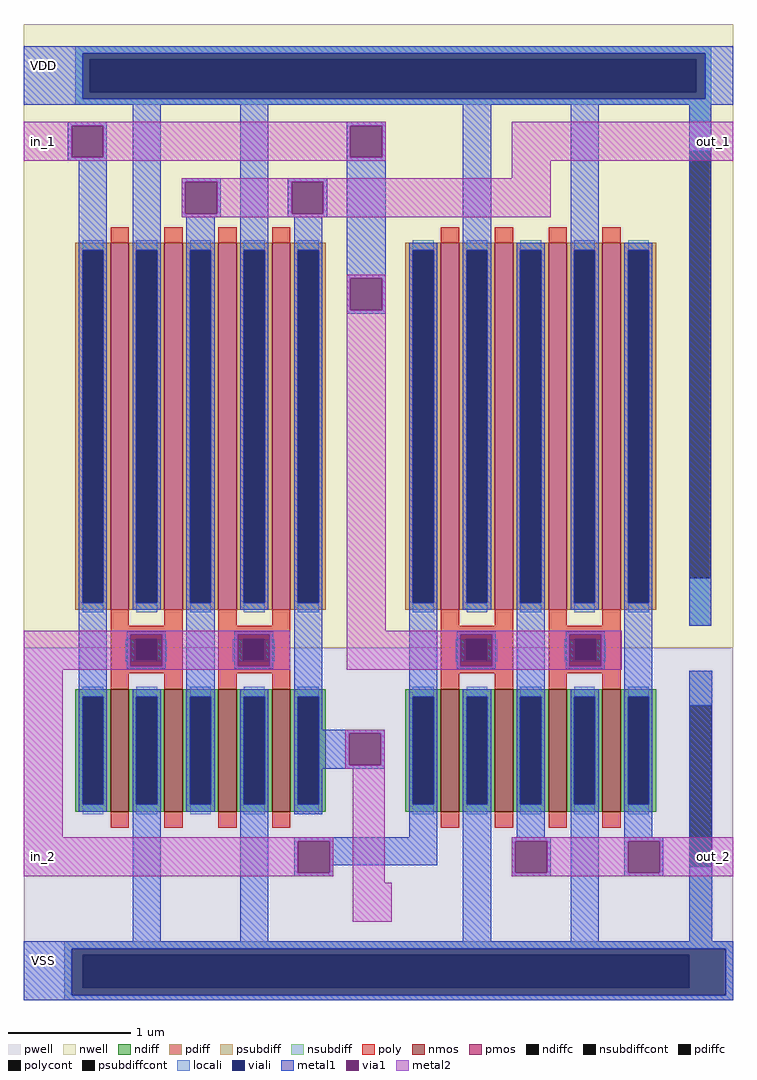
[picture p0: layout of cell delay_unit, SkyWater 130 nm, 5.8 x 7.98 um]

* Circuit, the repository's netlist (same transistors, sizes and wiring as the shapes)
* NGSPICE file created from delay_unit.ext - technology: sky130A

.subckt sky130_fd_pr__nfet_01v8_6H9P4D a_n73_n100# a_15_n100# a_n15_n126# VSUBS
X0 a_15_n100# a_n15_n126# a_n73_n100# VSUBS sky130_fd_pr__nfet_01v8 ad=0.29 pd=2.58 as=0.29 ps=2.58 w=1 l=0.15
**devattr s=11600,516 d=11600,516
.ends

.subckt sky130_fd_pr__pfet_01v8_2K9SAN a_n73_n300# w_n109_n362# a_15_n300# a_n15_n326#
X0 a_15_n300# a_n15_n326# a_n73_n300# w_n109_n362# sky130_fd_pr__pfet_01v8 ad=0.87 pd=6.58 as=0.87 ps=6.58 w=3 l=0.15
**devattr s=34800,1316 d=34800,1316
.ends

.subckt delay_unit out_1 in_1 out_2 in_2 VDD VSS
Xsky130_fd_pr__nfet_01v8_6H9P4D_0 VSS out_1 in_2 VSS sky130_fd_pr__nfet_01v8_6H9P4D
Xsky130_fd_pr__nfet_01v8_6H9P4D_1 out_1 VSS in_2 VSS sky130_fd_pr__nfet_01v8_6H9P4D
Xsky130_fd_pr__pfet_01v8_2K9SAN_0 VDD VDD out_1 in_2 sky130_fd_pr__pfet_01v8_2K9SAN
Xsky130_fd_pr__nfet_01v8_6H9P4D_2 VSS out_1 in_2 VSS sky130_fd_pr__nfet_01v8_6H9P4D
Xsky130_fd_pr__pfet_01v8_2K9SAN_1 out_1 VDD VDD in_2 sky130_fd_pr__pfet_01v8_2K9SAN
Xsky130_fd_pr__nfet_01v8_6H9P4D_3 in_1 VSS in_2 VSS sky130_fd_pr__nfet_01v8_6H9P4D
Xsky130_fd_pr__pfet_01v8_2K9SAN_2 VDD VDD out_1 in_2 sky130_fd_pr__pfet_01v8_2K9SAN
Xsky130_fd_pr__nfet_01v8_6H9P4D_4 in_2 VSS in_1 VSS sky130_fd_pr__nfet_01v8_6H9P4D
Xsky130_fd_pr__pfet_01v8_2K9SAN_3 in_1 VDD VDD in_2 sky130_fd_pr__pfet_01v8_2K9SAN
Xsky130_fd_pr__nfet_01v8_6H9P4D_5 VSS out_2 in_1 VSS sky130_fd_pr__nfet_01v8_6H9P4D
Xsky130_fd_pr__nfet_01v8_6H9P4D_6 out_2 VSS in_1 VSS sky130_fd_pr__nfet_01v8_6H9P4D
Xsky130_fd_pr__pfet_01v8_2K9SAN_4 VDD VDD out_2 in_1 sky130_fd_pr__pfet_01v8_2K9SAN
Xsky130_fd_pr__nfet_01v8_6H9P4D_7 VSS out_2 in_1 VSS sky130_fd_pr__nfet_01v8_6H9P4D
Xsky130_fd_pr__pfet_01v8_2K9SAN_5 in_2 VDD VDD in_1 sky130_fd_pr__pfet_01v8_2K9SAN
Xsky130_fd_pr__pfet_01v8_2K9SAN_6 VDD VDD out_2 in_1 sky130_fd_pr__pfet_01v8_2K9SAN
Xsky130_fd_pr__pfet_01v8_2K9SAN_7 out_2 VDD VDD in_1 sky130_fd_pr__pfet_01v8_2K9SAN
.ends

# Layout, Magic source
magic
tech sky130A
magscale 1 2
<< nwell >>
rect -340 1084 820 1380
rect -340 360 -292 1084
rect 190 970 248 1084
rect 458 1064 522 1084
rect -198 360 -80 396
rect -22 360 96 396
rect 188 388 252 970
rect 190 360 248 388
rect 368 360 442 396
rect 702 360 820 1084
<< pwell >>
rect -340 -216 820 360
<< psubdiff >>
rect 748 266 786 322
rect 748 -120 786 2
rect -274 -142 820 -120
rect -274 -196 -244 -142
rect 748 -196 820 -142
rect -274 -216 820 -196
<< nsubdiff >>
rect -256 1322 784 1344
rect -256 1268 -232 1322
rect 760 1268 784 1322
rect -256 1248 784 1268
rect 748 1172 784 1248
rect 748 396 784 474
<< psubdiffcont >>
rect 748 2 786 266
rect -244 -196 748 -142
<< nsubdiffcont >>
rect -232 1268 760 1322
rect 748 474 784 1172
<< poly >>
rect -198 374 -80 396
rect -198 338 -158 374
rect -122 338 -80 374
rect -198 318 -80 338
rect -22 374 96 396
rect -22 338 18 374
rect 54 338 96 374
rect -22 318 96 338
rect 342 374 460 396
rect 342 338 382 374
rect 418 338 460 374
rect 342 318 460 338
rect 518 374 636 396
rect 518 338 560 374
rect 596 338 636 374
rect 518 318 636 338
<< polycont >>
rect -158 338 -122 374
rect 18 338 54 374
rect 382 338 418 374
rect 560 338 596 374
<< locali >>
rect -256 1332 784 1344
rect -256 1258 -244 1332
rect 774 1258 784 1332
rect -256 1248 784 1258
rect 748 1172 784 1248
rect 748 396 784 474
rect -174 338 -158 374
rect -122 338 -106 374
rect 2 338 18 374
rect 54 338 70 374
rect 366 338 382 374
rect 418 338 434 374
rect 544 338 560 374
rect 596 338 612 374
rect 748 266 786 322
rect 748 -120 786 2
rect -274 -132 820 -120
rect -274 -208 -262 -132
rect 808 -208 820 -132
rect -274 -216 820 -208
<< viali >>
rect -244 1322 774 1332
rect -244 1268 -232 1322
rect -232 1268 760 1322
rect 760 1268 774 1322
rect -244 1258 774 1268
rect -158 338 -122 374
rect 18 338 54 374
rect 382 338 418 374
rect 560 338 596 374
rect -262 -142 808 -132
rect -262 -196 -244 -142
rect -244 -196 748 -142
rect 748 -196 808 -142
rect -262 -208 808 -196
<< metal1 >>
rect -340 1332 820 1344
rect -340 1258 -244 1332
rect 774 1258 820 1332
rect -340 1248 820 1258
rect -268 1214 -204 1220
rect -268 1162 -262 1214
rect -210 1162 -204 1214
rect -268 1156 -204 1162
rect -250 1022 -204 1156
rect -162 1022 -116 1248
rect -82 1122 -18 1128
rect -82 1070 -76 1122
rect -24 1070 -18 1122
rect -82 1064 -18 1070
rect -74 1022 -28 1064
rect 14 1022 60 1248
rect 188 1214 252 1220
rect 188 1162 194 1214
rect 246 1162 252 1214
rect 92 1122 156 1128
rect 92 1070 98 1122
rect 150 1070 156 1122
rect 92 1064 156 1070
rect 102 1022 148 1064
rect 188 964 252 1162
rect 378 1022 424 1248
rect 554 1022 600 1248
rect 188 912 194 964
rect 246 912 252 964
rect 188 906 252 912
rect -250 292 -204 422
rect -172 382 -108 386
rect -172 330 -166 382
rect -114 330 -108 382
rect -172 326 -108 330
rect -74 292 -28 422
rect 4 382 68 386
rect 4 330 10 382
rect 62 330 68 382
rect 4 326 68 330
rect 102 292 148 422
rect 290 292 336 422
rect 368 382 432 386
rect 368 330 374 382
rect 426 330 432 382
rect 368 326 432 330
rect 466 292 512 422
rect 546 382 610 386
rect 546 330 552 382
rect 604 330 610 382
rect 546 326 610 330
rect 642 292 688 422
rect 748 396 784 1248
rect 148 220 250 226
rect 148 168 192 220
rect 244 168 250 220
rect 148 162 250 168
rect -162 -120 -116 94
rect 14 -120 60 92
rect 102 88 148 92
rect 290 50 336 92
rect 102 44 336 50
rect 102 -8 108 44
rect 160 4 336 44
rect 160 -8 166 4
rect 102 -14 166 -8
rect 378 -120 424 92
rect 466 50 512 92
rect 458 44 522 50
rect 458 -8 464 44
rect 516 -8 522 44
rect 458 -14 522 -8
rect 554 -120 600 92
rect 642 50 688 92
rect 642 44 706 50
rect 642 -8 648 44
rect 700 -8 706 44
rect 642 -14 706 -8
rect 748 -120 786 322
rect -340 -132 820 -120
rect -340 -208 -262 -132
rect 808 -208 820 -132
rect -340 -216 820 -208
<< via1 >>
rect -262 1162 -210 1214
rect -76 1070 -24 1122
rect 194 1162 246 1214
rect 98 1070 150 1122
rect 194 912 246 964
rect -166 374 -114 382
rect -166 338 -158 374
rect -158 338 -122 374
rect -122 338 -114 374
rect -166 330 -114 338
rect 10 374 62 382
rect 10 338 18 374
rect 18 338 54 374
rect 54 338 62 374
rect 10 330 62 338
rect 374 374 426 382
rect 374 338 382 374
rect 382 338 418 374
rect 418 338 426 374
rect 374 330 426 338
rect 552 374 604 382
rect 552 338 560 374
rect 560 338 596 374
rect 596 338 604 374
rect 552 330 604 338
rect 192 168 244 220
rect 108 -8 160 44
rect 464 -8 516 44
rect 648 -8 700 44
<< metal2 >>
rect -340 1214 252 1220
rect -340 1162 -262 1214
rect -210 1162 194 1214
rect 246 1162 252 1214
rect -340 1156 252 1162
rect 458 1156 820 1220
rect 458 1128 522 1156
rect -82 1122 522 1128
rect -82 1070 -76 1122
rect -24 1070 98 1122
rect 150 1070 522 1122
rect -82 1064 522 1070
rect 188 964 252 970
rect 188 912 194 964
rect 246 912 252 964
rect 188 388 252 912
rect -340 382 96 388
rect -340 330 -166 382
rect -114 330 10 382
rect 62 330 96 382
rect -340 324 96 330
rect 188 382 638 388
rect 188 330 374 382
rect 426 330 552 382
rect 604 330 638 382
rect 188 324 638 330
rect -340 50 -276 324
rect 186 220 250 226
rect 186 168 192 220
rect 244 168 250 220
rect 186 162 250 168
rect -340 44 166 50
rect -340 -8 108 44
rect 160 -8 166 44
rect -340 -14 166 -8
rect 198 -24 250 162
rect 458 44 820 50
rect 458 -8 464 44
rect 516 -8 648 44
rect 700 -8 820 44
rect 458 -14 820 -8
rect 198 -88 262 -24
use sky130_fd_pr__nfet_01v8_6H9P4D  sky130_fd_pr__nfet_01v8_6H9P4D_0
transform 1 0 81 0 1 192
box -73 -126 73 126
use sky130_fd_pr__nfet_01v8_6H9P4D  sky130_fd_pr__nfet_01v8_6H9P4D_1
transform 1 0 -7 0 1 192
box -73 -126 73 126
use sky130_fd_pr__nfet_01v8_6H9P4D  sky130_fd_pr__nfet_01v8_6H9P4D_2
transform 1 0 -95 0 1 192
box -73 -126 73 126
use sky130_fd_pr__nfet_01v8_6H9P4D  sky130_fd_pr__nfet_01v8_6H9P4D_3
transform 1 0 -183 0 1 192
box -73 -126 73 126
use sky130_fd_pr__nfet_01v8_6H9P4D  sky130_fd_pr__nfet_01v8_6H9P4D_4
transform 1 0 357 0 1 192
box -73 -126 73 126
use sky130_fd_pr__nfet_01v8_6H9P4D  sky130_fd_pr__nfet_01v8_6H9P4D_5
transform 1 0 445 0 1 192
box -73 -126 73 126
use sky130_fd_pr__nfet_01v8_6H9P4D  sky130_fd_pr__nfet_01v8_6H9P4D_6
transform 1 0 533 0 1 192
box -73 -126 73 126
use sky130_fd_pr__nfet_01v8_6H9P4D  sky130_fd_pr__nfet_01v8_6H9P4D_7
transform 1 0 621 0 1 192
box -73 -126 73 126
use sky130_fd_pr__pfet_01v8_2K9SAN  sky130_fd_pr__pfet_01v8_2K9SAN_0
transform 1 0 81 0 1 722
box -109 -362 109 362
use sky130_fd_pr__pfet_01v8_2K9SAN  sky130_fd_pr__pfet_01v8_2K9SAN_1
transform 1 0 -7 0 1 722
box -109 -362 109 362
use sky130_fd_pr__pfet_01v8_2K9SAN  sky130_fd_pr__pfet_01v8_2K9SAN_2
transform 1 0 -95 0 1 722
box -109 -362 109 362
use sky130_fd_pr__pfet_01v8_2K9SAN  sky130_fd_pr__pfet_01v8_2K9SAN_3
transform 1 0 -183 0 1 722
box -109 -362 109 362
use sky130_fd_pr__pfet_01v8_2K9SAN  sky130_fd_pr__pfet_01v8_2K9SAN_4
transform 1 0 445 0 1 722
box -109 -362 109 362
use sky130_fd_pr__pfet_01v8_2K9SAN  sky130_fd_pr__pfet_01v8_2K9SAN_5
transform 1 0 357 0 1 722
box -109 -362 109 362
use sky130_fd_pr__pfet_01v8_2K9SAN  sky130_fd_pr__pfet_01v8_2K9SAN_6
transform 1 0 621 0 1 722
box -109 -362 109 362
use sky130_fd_pr__pfet_01v8_2K9SAN  sky130_fd_pr__pfet_01v8_2K9SAN_7
transform 1 0 533 0 1 722
box -109 -362 109 362
<< labels >>
rlabel metal2 756 1156 820 1220 0 out_1
port 1 nsew
rlabel metal2 -340 1156 -276 1220 0 in_1
port 2 nsew
rlabel metal2 756 -14 820 50 0 out_2
port 3 nsew
rlabel metal2 -340 -14 -276 50 0 in_2
port 4 nsew
rlabel metal1 -340 1280 -276 1344 0 VDD
port 5 nsew
rlabel metal1 -340 -184 -276 -120 0 VSS
port 6 nsew
<< end >>

# cell sky130_fd_pr__nfet_01v8_6H9P4D: kit device sky130_fd_pr__nfet_01v8, w 1 l 0.150 m 1 nf 1 diffcov 100 polycov 100 guard 0 glc 1 grc 1 gtc 1 gbc 1 tbcov 100 rlcov 100 topc 0 botc 0 poverlap 0 doverlap 1 lmin 0.15 wmin 0.42 compatible {sky130_fd_pr__nfet_01v8 sky130_fd_pr__nfet_01v8_lvt sky130_fd_bs_flash__special_sonosfet_star sky130_fd_pr__nfet_g5v0d10v5 sky130_fd_pr__nfet_05v0_nvt sky130_fd_pr__nfet_03v3_nvt} full_metal 1 viasrc 100 viadrn 100 viagate 100 viagb 0 viagr 0 viagl 0 viagt 0

# cell sky130_fd_pr__pfet_01v8_2K9SAN: kit device sky130_fd_pr__pfet_01v8, w 3 l 0.15 m 1 nf 1 diffcov 100 polycov 100 guard 0 glc 1 grc 1 gtc 1 gbc 1 tbcov 100 rlcov 100 topc 0 botc 0 poverlap 0 doverlap 1 lmin 0.15 wmin 0.42 compatible {sky130_fd_pr__pfet_01v8 sky130_fd_pr__pfet_01v8_lvt sky130_fd_pr__pfet_01v8_hvt sky130_fd_pr__pfet_g5v0d10v5} full_metal 1 viasrc 100 viadrn 100 viagate 100 viagb 0 viagr 0 viagl 0 viagt 0
